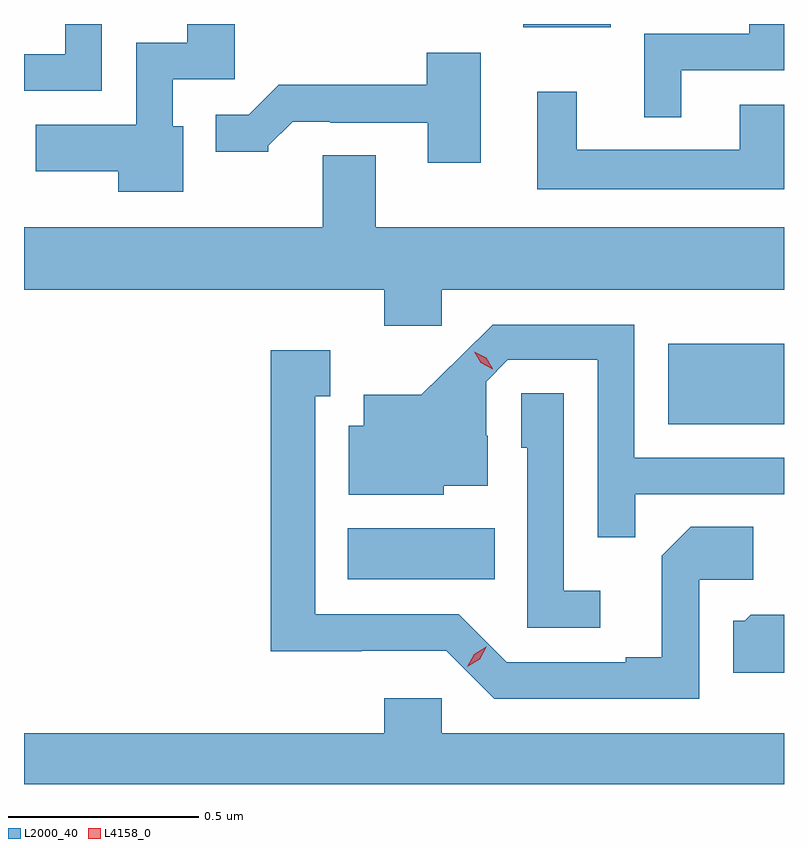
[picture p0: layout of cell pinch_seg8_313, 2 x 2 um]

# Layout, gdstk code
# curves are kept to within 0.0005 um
import gdstk
lib = gdstk.Library(unit=1e-6, precision=1e-09)
def R(c, l, rs):  # rectangles x0, y0, x1, y1
    for r in rs: c.add(gdstk.rectangle(r[:2], r[2:], *l))
def P(c, l, *ps):  # polygons
    for p in ps: c.add(gdstk.Polygon(p, *l))
L2000_40 = (2000, 40)
L4158_0 = (4158, 0)

pinch_seg8_313 = lib.new_cell('pinch_seg8_313')
R(pinch_seg8_313, L2000_40, [(514.769,1155.698,515.156,1155.832), (515.612,1156.106,515.917,1156.318), (515.231,1157.15,515.461,1157.159)])
P(pinch_seg8_313, L2000_40, [(514.336,1156.89),(514.308,1156.89),(514.308,1157.013),(514.471,1157.013),(514.471,1157.159),(514.346,1157.159),(514.346,1157.11),(514.212,1157.11),(514.212,1156.894),(513.948,1156.894),(513.948,1156.772),(514.165,1156.772),(514.165,1156.718),(514.336,1156.718)],
  [(515.647,1157.037),(515.917,1157.037),(515.917,1157.159),(515.826,1157.159),(515.826,1157.133),(515.549,1157.133),(515.549,1156.913),(515.647,1156.913)],
  [(514.122,1157.159),(514.026,1157.159),(514.026,1157.079),(513.917,1157.079),(513.917,1156.983),(514.122,1156.983)],
  [(515.119,1157.083),(514.977,1157.083),(514.977,1156.999),(514.588,1156.999),(514.509,1156.92),(514.421,1156.92),(514.421,1156.823),(514.56,1156.823),(514.56,1156.838),(514.624,1156.902),(514.723,1156.902),(514.723,1156.899),(514.979,1156.899),(514.979,1156.794),(515.119,1156.794)],
  [(515.917,1156.947),(515.801,1156.947),(515.801,1156.828),(515.371,1156.828),(515.371,1156.981),(515.267,1156.981),(515.267,1156.724),(515.917,1156.724)],
  [(515.016,1156.46),(515.917,1156.46),(515.917,1156.624),(514.843,1156.624),(514.843,1156.814),(514.703,1156.814),(514.703,1156.624),(513.917,1156.624),(513.917,1156.46),(514.865,1156.46),(514.865,1156.365),(515.016,1156.365)],
  [(515.525,1155.921),(515.917,1155.921),(515.917,1156.017),(515.523,1156.017),(515.523,1156.368),(515.15,1156.368),(514.963,1156.183),(514.811,1156.183),(514.811,1156.102),(514.772,1156.102),(514.772,1155.92),(515.022,1155.92),(515.022,1155.944),(515.137,1155.944),(515.137,1156.076),(515.133,1156.076),(515.133,1156.218),(515.19,1156.275),(515.427,1156.275),(515.427,1155.808),(515.525,1155.808)],
  [(515.694,1155.696),(515.836,1155.696),(515.836,1155.836),(515.671,1155.836),(515.595,1155.76),(515.595,1155.493),(515.501,1155.493),(515.501,1155.48),(515.187,1155.48),(515.061,1155.606),(514.684,1155.606),(514.684,1156.179),(514.723,1156.179),(514.723,1156.3),(514.566,1156.3),(514.566,1155.509),(514.806,1155.509),(514.806,1155.51),(515.028,1155.51),(515.154,1155.384),(515.694,1155.384)],
  [(515.434,1155.667),(515.337,1155.667),(515.337,1156.187),(515.226,1156.187),(515.226,1156.044),(515.241,1156.044),(515.241,1155.57),(515.434,1155.57)],
  [(515.917,1155.604),(515.83,1155.604),(515.814,1155.588),(515.783,1155.588),(515.783,1155.452),(515.917,1155.452)],
  [(515.917,1155.292),(515.016,1155.292),(515.016,1155.385),(514.865,1155.385),(514.865,1155.292),(513.917,1155.292),(513.917,1155.159),(515.917,1155.159)])
P(pinch_seg8_313, L4158_0, [(515.15,1156.251),(515.119,1156.267),(515.102,1156.297),(515.102,1156.297),(515.102,1156.297),(515.133,1156.281),(515.15,1156.252),(515.15,1156.251)],
  [(515.084,1155.468),(515.084,1155.468),(515.102,1155.501),(515.134,1155.52),(515.134,1155.52),(515.134,1155.519),(515.116,1155.487),(515.084,1155.468)])

lib.write_gds('pinch_seg8_313.gds')
